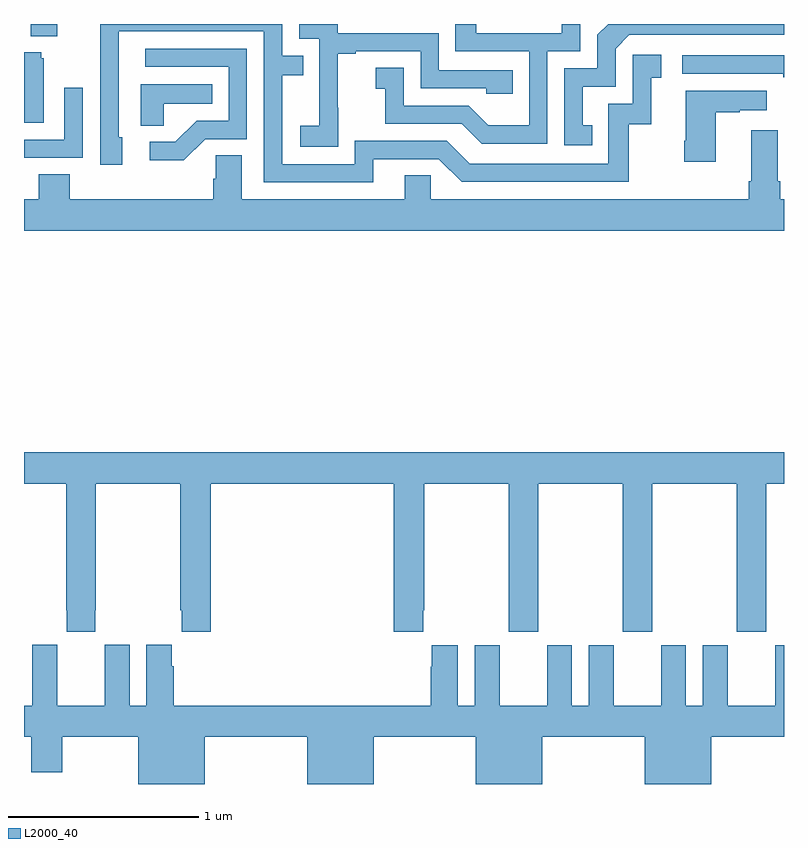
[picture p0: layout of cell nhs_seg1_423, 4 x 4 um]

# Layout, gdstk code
import gdstk
lib = gdstk.Library(unit=1e-6, precision=1e-09)
def R(c, l, rs):  # rectangles x0, y0, x1, y1
    for r in rs: c.add(gdstk.rectangle(r[:2], r[2:], *l))
def P(c, l, *ps):  # polygons
    for p in ps: c.add(gdstk.Polygon(p, *l))
L2000_40 = (2000, 40)

nhs_seg1_423 = lib.new_cell('nhs_seg1_423')
R(nhs_seg1_423, L2000_40, [(135.035,506.135,135.175,506.199)])
P(nhs_seg1_423, L2000_40, [(137.754,506.055),(137.928,506.055),(137.928,506.199),(137.831,506.199),(137.831,506.151),(137.38,506.151),(137.38,506.199),(137.269,506.199),(137.269,506.055),(137.658,506.055),(137.658,505.666),(137.444,505.666),(137.34,505.77),(136.998,505.77),(136.998,505.969),(136.851,505.969),(136.851,505.859),(136.9,505.859),(136.9,505.674),(137.303,505.674),(137.408,505.569),(137.754,505.569)],
  [(136.653,505.759),(136.652,505.759),(136.652,506.043),(136.747,506.043),(136.747,506.055),(137.088,506.055),(137.088,505.86),(137.433,505.86),(137.433,505.833),(137.573,505.833),(137.573,505.956),(137.184,505.956),(137.184,506.151),(136.65,506.151),(136.65,506.199),(136.449,506.199),(136.449,506.121),(136.554,506.121),(136.554,505.892),(136.553,505.892),(136.553,505.663),(136.455,505.663),(136.455,505.553),(136.653,505.553)],
  [(137.99,505.665),(137.941,505.665),(137.941,505.869),(138.114,505.869),(138.114,506.07),(138.186,506.142),(139,506.142),(139,506.199),(138.075,506.199),(138.018,506.142),(138.018,505.965),(137.844,505.965),(137.844,505.56),(137.99,505.56)],
  [(136.837,505.488),(137.184,505.488),(137.304,505.368),(138.184,505.368),(138.184,505.671),(138.302,505.671),(138.302,505.917),(138.355,505.917),(138.355,506.038),(138.204,506.038),(138.204,505.779),(138.075,505.779),(138.075,505.464),(137.346,505.464),(137.226,505.584),(136.74,505.584),(136.74,505.461),(136.359,505.461),(136.359,505.93),(136.469,505.93),(136.469,506.031),(136.359,506.031),(136.359,506.199),(135.4,506.199),(135.4,505.951),(135.402,505.951),(135.402,505.458),(135.517,505.458),(135.517,505.602),(135.498,505.602),(135.498,506.16),(136.263,506.16),(136.263,505.365),(136.837,505.365)],
  [(135.954,505.593),(136.173,505.593),(136.173,506.07),(135.639,506.07),(135.639,505.974),(136.077,505.974),(136.077,505.689),(135.908,505.689),(135.797,505.578),(135.663,505.578),(135.663,505.481),(135.841,505.481)],
  [(135.103,506.019),(135.092,506.019),(135.092,506.05),(135,506.05),(135,505.679),(135.103,505.679)],
  [(139,506.034),(138.465,506.034),(138.465,505.938),(138.997,505.938),(138.997,505.918),(139,505.918)],
  [(135.735,505.778),(135.992,505.778),(135.992,505.882),(135.614,505.882),(135.614,505.663),(135.735,505.663)],
  [(135.309,505.864),(135.213,505.864),(135.213,505.59),(135,505.59),(135,505.494),(135.309,505.494)],
  [(138.64,505.735),(138.767,505.735),(138.767,505.745),(138.91,505.745),(138.91,505.849),(138.482,505.849),(138.482,505.585),(138.475,505.585),(138.475,505.473),(138.64,505.473)],
  [(139,505.276),(138.98,505.276),(138.98,505.372),(138.967,505.372),(138.967,505.639),(138.827,505.639),(138.827,505.372),(138.815,505.372),(138.815,505.276),(137.142,505.276),(137.142,505.403),(137.003,505.403),(137.003,505.276),(136.147,505.276),(136.147,505.508),(136.008,505.508),(136.008,505.385),(135.995,505.385),(135.995,505.276),(135.242,505.276),(135.242,505.409),(135.077,505.409),(135.077,505.276),(135,505.276),(135,505.112),(139,505.112)],
  [(135,503.78),(135.223,503.78),(135.223,503.113),(135.225,503.113),(135.225,503.001),(135.375,503.001),(135.375,503.113),(135.378,503.113),(135.378,503.78),(135.823,503.78),(135.823,503.113),(135.829,503.113),(135.829,503.001),(135.983,503.001),(135.983,503.78),(136.946,503.78),(136.946,503.001),(137.101,503.001),(137.101,503.113),(137.106,503.113),(137.106,503.78),(137.551,503.78),(137.551,503.001),(137.706,503.001),(137.706,503.78),(138.151,503.78),(138.151,503.001),(138.306,503.001),(138.306,503.78),(138.751,503.78),(138.751,503.001),(138.906,503.001),(138.906,503.78),(139,503.78),(139,503.944),(135,503.944)],
  [(135.952,502.448),(136.49,502.448),(136.49,502.199),(136.84,502.199),(136.84,502.448),(137.378,502.448),(137.378,502.199),(137.728,502.199),(137.728,502.448),(138.266,502.448),(138.266,502.199),(138.616,502.199),(138.616,502.448),(139,502.448),(139,502.93),(138.953,502.93),(138.953,502.612),(138.703,502.612),(138.703,502.93),(138.572,502.93),(138.572,502.612),(138.484,502.612),(138.484,502.93),(138.353,502.93),(138.353,502.612),(138.103,502.612),(138.103,502.93),(137.972,502.93),(137.972,502.612),(137.884,502.612),(137.884,502.93),(137.753,502.93),(137.753,502.612),(137.503,502.612),(137.503,502.93),(137.372,502.93),(137.372,502.612),(137.284,502.612),(137.284,502.93),(137.147,502.93),(137.147,502.817),(137.141,502.817),(137.141,502.612),(135.788,502.612),(135.788,502.82),(135.778,502.82),(135.778,502.933),(135.644,502.933),(135.644,502.612),(135.556,502.612),(135.556,502.933),(135.426,502.933),(135.426,502.82),(135.425,502.82),(135.425,502.612),(135.175,502.612),(135.175,502.82),(135.174,502.82),(135.174,502.933),(135.044,502.933),(135.044,502.612),(135,502.612),(135,502.448),(135.038,502.448),(135.038,502.26),(135.202,502.26),(135.202,502.448),(135.602,502.448),(135.602,502.199),(135.952,502.199)])

lib.write_gds('nhs_seg1_423.gds')
